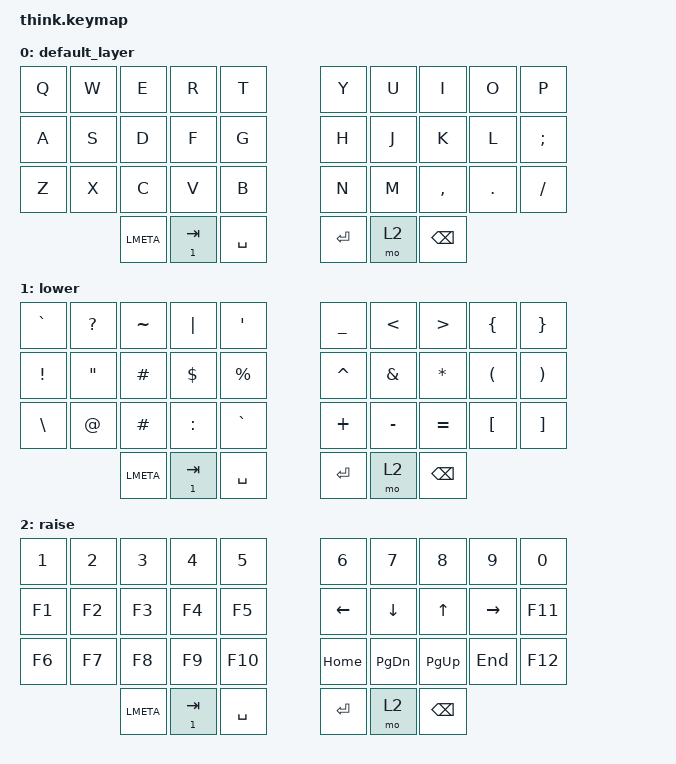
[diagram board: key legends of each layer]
#include <behaviors.dtsi>
#include <dt-bindings/zmk/keys.h>

/ {

	combos {
		compatible = "zmk,combos";
		combo_esc {
			timeout-ms = <25>;
			key-positions = <0 1>;
			bindings = <&kp ESC>;

		};

		combo_lctrl {
			timeout-ms = <25>;
			key-positions = <12 13>;
			bindings = <&kp LCTRL>;
		};

		combo_rctrl {
			timeout-ms = <25>;
			key-positions = <18 19>;
			bindings = <&kp RCTRL>;
		};

		combo_lshft {
			timeout-ms = <25>;
			key-positions = <21 22>;
			bindings = <&kp LSHFT>;
		};

		combo_rshft {
			timeout-ms = <25>;
			key-positions = <29 30>;
			bindings = <&kp RSHFT>;
		};

	};


	keymap {
            compatible = "zmk,keymap";
            
    	default_layer {
    		bindings = <
            // ╭─────────────┬─────────────┬─────────────┬─────────────┬─────────────╮   ╭─────────────┬─────────────┬─────────────┬─────────────┬─────────────╮
                 &kp Q         &kp W         &kp E         &kp R         &kp T             &kp Y         &kp U         &kp I         &kp O         &kp P 
            // ├─────────────┼─────────────┼─────────────┼─────────────┼─────────────┤   ├─────────────┼─────────────┼─────────────┼─────────────┼─────────────┤
                 &kp A         &kp S         &kp D         &kp F         &kp G             &kp H         &kp J         &kp K         &kp L         &kp SEMI
            // ├─────────────┼─────────────┼─────────────┼─────────────┼─────────────┤   ├─────────────┼─────────────┼─────────────┼─────────────┼─────────────┤
                 &kp Z         &kp X         &kp C         &kp V         &kp B	           &kp N         &kp M         &kp COMMA     &kp DOT       &kp FSLH
            // ╰─────────────┴─────────────┼─────────────┼─────────────┼─────────────┤   ├─────────────┼─────────────┼─────────────┼─────────────┴─────────────╯
                                             &kp LMETA     &mt 1 TAB     &kp SPACE         &kp RET       &mo 2         &kp BSPC 
            //                             ╰─────────────┴─────────────┴─────────────╯   ╰─────────────┴─────────────┴─────────────╯
		    >;
      };
		  
      lower {
          bindings = <
          // ╭─────────────┬─────────────┬─────────────┬─────────────┬─────────────╮   ╭─────────────┬─────────────┬─────────────┬─────────────┬─────────────╮
                &kp GRAVE    &kp QMARK     &kp TILDE     &kp PIPE      &kp APOS          &kp UNDER     &kp LT        &kp GT        &kp LBRC      &kp RBRC 
          // ├─────────────┼─────────────┼─────────────┼─────────────┼─────────────┤   ├─────────────┼─────────────┼─────────────┼─────────────┼─────────────┤
               &kp EXCL      &kp DQT       &kp HASH      &kp DLLR      &kp PRCNT         &kp CARET     &kp AMPS      &kp ASTRK     &kp LPAR      &kp RPAR 
          // ├─────────────┼─────────────┼─────────────┼─────────────┼─────────────┤   ├─────────────┼─────────────┼─────────────┼─────────────┼─────────────┤
               &kp BSLH      &kp AT        &kp HASH      &kp COLON     &kp GRAVE         &kp PLUS      &kp MINUS     &kp EQUAL     &kp LBKT      &kp RBKT 
          // ╰─────────────┴─────────────┼─────────────┼─────────────┼─────────────┤   ├─────────────┼─────────────┼─────────────┼─────────────┴─────────────╯
                                           &kp LMETA     &mt 1 TAB     &kp SPACE         &kp RET       &mo 2         &kp BSPC 
          //                             ╰─────────────┴─────────────┴─────────────╯   ╰─────────────┴─────────────┴─────────────╯
          >;
      };
      
      raise {
          bindings = <
          // ╭─────────────┬─────────────┬─────────────┬─────────────┬─────────────╮   ╭─────────────┬─────────────┬─────────────┬─────────────┬─────────────╮
               &kp N1        &kp N2        &kp N3        &kp N4        &kp N5            &kp N6        &kp N7        &kp N8        &kp N9        &kp N0 
          // ├─────────────┼─────────────┼─────────────┼─────────────┼─────────────┤   ├─────────────┼─────────────┼─────────────┼─────────────┼─────────────┤
               &kp F1        &kp F2        &kp F3        &kp F4        &kp F5            &kp LEFT      &kp DOWN      &kp UP        &kp RIGHT     &kp F11 
          // ├─────────────┼─────────────┼─────────────┼─────────────┼─────────────┤   ├─────────────┼─────────────┼─────────────┼─────────────┼─────────────┤
               &kp F6        &kp F7        &kp F8        &kp F9        &kp F10           &kp HOME      &kp PG_DN     &kp PG_UP     &kp END       &kp F12 
          // ╰─────────────┴─────────────┼─────────────┼─────────────┼─────────────┤   ├─────────────┼─────────────┼─────────────┼─────────────┴─────────────╯
                                           &kp LMETA     &mt 1 TAB     &kp SPACE         &kp RET       &mo 2         &kp BSPC 
          //                             ╰─────────────┴─────────────┴─────────────╯   ╰─────────────┴─────────────┴─────────────╯
          >;
      };   
    };
};


